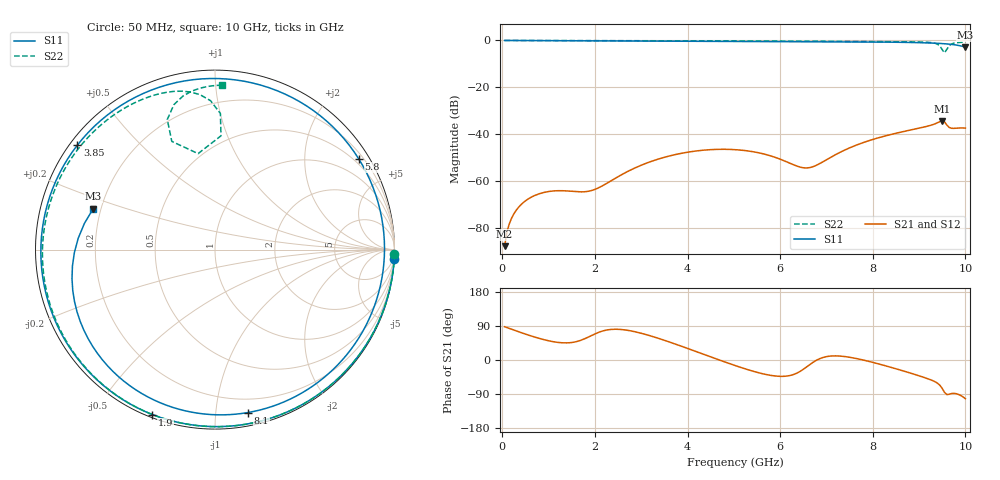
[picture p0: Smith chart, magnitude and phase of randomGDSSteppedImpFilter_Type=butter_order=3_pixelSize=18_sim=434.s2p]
! freq	dB(S11)	phase(S11)	dB(S12)	phase(S12)
!  dB(S21)	phase(S21)	dB(S22)	phase(S22)
!S-par simulation data
#  GHz  S  DB  R 50
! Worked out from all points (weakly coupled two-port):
!   200 points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, 50 MHz to 10 GHz, reference 50 ohm
!   highest |S21| = -34.38 dB at 9.5 GHz (marker M1); lowest = -88.0 dB at 50 MHz (marker M2)
!   lowest |S11| = -2.9 dB at 10 GHz (marker M3), VSWR 6.04, Z = 8.5 + j7.97 ohm
!   |S11| at or under -10 dB: nowhere
!   |S22| runs from -5.3 to 0.0 dB; largest |S21 - S12| = 0
!   S11 on the Smith chart (normalised r, x): 50 MHz: 0, -37; 1.9 GHz: 0.01, -0.69; 3.85 GHz: 0.02, +0.34; 5.8 GHz: 0.35, +3.43; 8.1 GHz: 0.10, -1.22; 10 GHz: 0.17, +0.16
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0.05  -0.00 -3.1  -87.96 87.8  -87.96 87.8  -0.00 -1.5
0.4  -0.03 -24.2  -70.29 72.5  -70.29 72.5  -0.02 -11.6
0.7  -0.06 -42.1  -66.29 60.5  -66.29 60.5  -0.03 -20.2
1.25  -0.10 -74.2  -64.23 45.8  -64.23 45.8  -0.04 -35.8
1.75  -0.14 -102.5  -64.72 54.6  -64.72 54.6  -0.06 -49.7
1.9  -0.15 -110.8  -64.31 63.0  -64.31 63.0  -0.07 -53.8
2.7  -0.22 -154.3  -56.09 78.5  -56.09 78.5  -0.10 -75.2
3.4  -0.28 167.7  -50.53 56.0  -50.53 56.0  -0.12 -93.2
3.85  -0.33 142.8  -48.32 37.2  -48.32 37.2  -0.14 -104.6
4.45  -0.39 108.9  -46.75 10.5  -46.75 10.5  -0.17 -119.5
5.05  -0.43 74.5  -46.72 -15.5  -46.72 -15.5  -0.20 -134.2
5.8  -0.47 32.3  -49.38 -40.7  -49.38 -40.7  -0.25 -152.8
6.7  -0.51 -14.7  -54.03 -6.9  -54.03 -6.9  -0.33 -175.8
7.4  -0.56 -47.6  -46.81 9.0  -46.81 9.0  -0.40 165.2
8.1  -0.67 -78.5  -41.74 -9.5  -41.74 -9.5  -0.47 144.5
8.35  -0.72 -89.4  -40.41 -17.9  -40.41 -17.9  -0.51 136.6
9.25  -1.09 -132.8  -36.29 -52.3  -36.29 -52.3  -0.90 101.8
9.4  -1.22 -141.8  -35.17 -61.4  -35.17 -61.4  -1.62 91.7
9.5  -1.33 -148.4  -34.38 -75.1  -34.38 -75.1  -3.95 87.0
9.55  -1.40 -151.9  -34.83 -85.6  -34.83 -85.6  -5.30 100.0
9.65  -1.57 -159.7  -37.19 -90.4  -37.19 -90.4  -2.25 110.1
10  -2.90 161.4  -37.48 -102.2  -37.48 -102.2  -0.75 87.4
